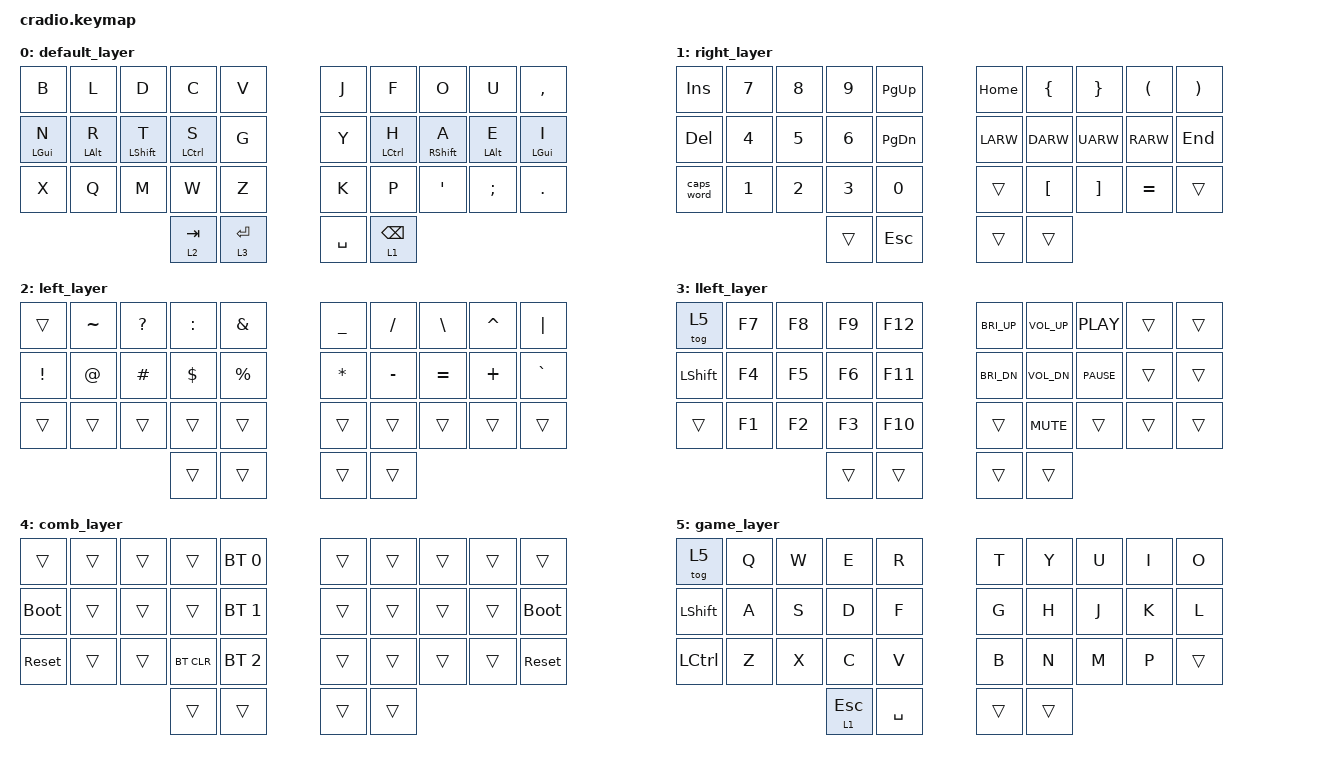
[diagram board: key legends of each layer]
// Copyright (c) 2022 The ZMK Contributors
// SPDX-License-Identifier: MIT

#include <behaviors.dtsi>
#include <dt-bindings/zmk/keys.h>
#include <dt-bindings/zmk/bt.h>
#include "zmk-helpers/key-labels/34.h"   
#include "zmk-helpers/helper.h"

#define KEYS_L LT0 LT1 LT2 LT3 LT4 LM0 LM1 LM2 LM3 LM4 LB0 LB1 LB2 LB3 LB4  // left-hand keys
#define KEYS_R RT0 RT1 RT2 RT3 RT4 RM0 RM1 RM2 RM3 RM4 RB0 RB1 RB2 RB3 RB4  // right-hand keys
#define THUMBS_L LH1 LH0 
#define THUMBS_R RH0 RH1  // thumb keys 
#define THUMBS LH0 LH1 RH0 RH1  // thumb keys

#define QUICK_TAP_MS 175 // 175
#define REQUIRE_PRIOR_IDLE_MS 100 // 150
#define COMBO_TIMEOUT_MS 35 // 50

#define MAKE_HRM(NAME, HOLD, TAP, TRIGGER_POS) \
    ZMK_HOLD_TAP(NAME, \
        flavor = "balanced"; \
        tapping-term-ms = <240>; \
        quick-tap-ms = <QUICK_TAP_MS>; \
        require-prior-idle-ms = <REQUIRE_PRIOR_IDLE_MS>; \
        bindings = <HOLD>, <TAP>; \
        hold-trigger-key-positions = <TRIGGER_POS>; \
        hold-while-undecided; \
    )

#define MAKE_HRM_NO_HOLD(NAME, HOLD, TAP, TRIGGER_POS) \
    ZMK_HOLD_TAP(NAME, \
        flavor = "balanced"; \
        tapping-term-ms = <240>; \
        quick-tap-ms = <QUICK_TAP_MS>; \
        require-prior-idle-ms = <REQUIRE_PRIOR_IDLE_MS>; \
        bindings = <HOLD>, <TAP>; \
        hold-trigger-key-positions = <TRIGGER_POS>; \
    )

MAKE_HRM(hml, &kp, &kp, KEYS_R THUMBS)  // left-hand HRMs
MAKE_HRM_NO_HOLD(hmln, &kp, &kp, KEYS_R THUMBS)  // left-hand HRMs
MAKE_HRM(hmr, &kp, &kp, KEYS_L THUMBS_L)  // right-hand HRMs
MAKE_HRM_NO_HOLD(hmrn, &kp, &kp, KEYS_L THUMBS_L)  // right-hand HRMs

&lt {
    quick-tap-ms = <QUICK_TAP_MS>;
};


/ { 
    combos {
        compatible = "zmk,combos";
        combo_lws {
            timeout-ms = <COMBO_TIMEOUT_MS>;
            key-positions = <LM4 LM2>;
            bindings = <&macro_lgui_lshift>;
        };
        combo_rws {
            timeout-ms = <COMBO_TIMEOUT_MS>;
            key-positions = <RM4 RM2>;
            bindings = <&macro_lgui_lshift>;
        };
    };

    macros {
        macro_lgui_lshift: macro_lgui_lshift {
            label = "Macro LGUI+LSHIFT";
            compatible = "zmk,behavior-macro";
            #binding-cells = <0>;
            bindings = <&macro_press &kp LGUI>, <&macro_press &kp LSHIFT>, <&macro_pause_for_release>, <&macro_release &kp LSHIFT>, <&macro_release &kp LGUI>;
        };
    };

    conditional_layers {
        compatible = "zmk,conditional-layers";
        comb_layer {
            if-layers = <1 2>;
            then-layer = <4>;
        };
    };

    keymap {
        compatible = "zmk,keymap";
        default_layer {
            bindings = <
        //╭──────────┬──────────┬──────────┬──────────┬──────────╮   ╭──────────┬──────────┬──────────┬──────────┬──────────╮
        //│  B       │  L       │  D       │  C       │  V       │   │  J       │  F       │  O       │  U       │  , <     │
            &kp B      &kp L      &kp D      &kp C      &kp V          &kp J      &kp F      &kp O      &kp U      &kp COMMA
        //├──────────┼──────────┼──────────┼──────────┼──────────┤   ├──────────┼──────────┼──────────┼──────────┼──────────┤
        //│  N       │  R       │  T       │  S       │  G       │   │  Y       │  H       │  A       │  E       │  I       │
      &hmln LGUI N  &hmln LALT R  &hml LSHIFT  T &hml LCTRL S  &kp G    &kp Y     &hmr LCTRL H &hmr RSHFT A &hmrn LALT E &hmrn LGUI I
        //├──────────┼──────────┼──────────┼──────────┼──────────┤   ├──────────┼──────────┼──────────┼──────────┼──────────┤
        //│  X       │  Q       │  M       │  W       │  Z       │   │  K       │  P       │ ' "      │  ; :     │ . >      │
            &kp X      &kp Q      &kp M      &kp W      &kp Z          &kp K      &kp P      &kp SQT    &kp SEMI   &kp DOT
        //╰──────────┴──────────┴──────────┼──────────┼──────────┤   ├──────────┼──────────┼──────────┴──────────┴──────────╯
                                            &lt 2 TAB   &lt 3 ENTER     &kp SPACE  &lt 1 BSPC
        //                                 ╰──────────┴──────────╯   ╰──────────┴──────────╯
            >;
        };

        // right_layer {
        //    bindings = <
        //╭──────────┬──────────┬──────────┬──────────┬──────────╮   ╭──────────┬──────────┬──────────┬──────────┬──────────╮
        //│ INSERT   │  7       │  8       │  9       │          │   │ HOME     │ PAGE DN  │ PAGE UP  │ END      │  /       │
        //    &kp INS    &kp N1     &kp N2     &kp N3     &trans         &kp HOME   &kp PG_DN  &kp PG_UP  &kp END    &kp FSLH
        //├──────────┼──────────┼──────────┼──────────┼──────────┤   ├──────────┼──────────┼──────────┼──────────┼──────────┤
        //│ DELETE   │  4       │  5       │  6       │          │   │ LEFT     │ DOWN     │ UP       │ RIGHT    │  ?       │
        //    &kp DEL    &kp N4     &kp N5     &kp N6     &trans         &kp LARW   &kp DARW   &kp UARW   &kp RARW   &kp QMARK
        //├──────────┼──────────┼──────────┼──────────┼──────────┤   ├──────────┼──────────┼──────────┼──────────┼──────────┤
        //│ 0        │  1       │  2       │  3       │  0       │   │          │          │          │          │          │
        //   &caps_word  &kp N7     &kp N8     &kp N9     &kp N0         &trans     &trans     &trans     &trans     &trans
        //╰──────────┴──────────┴──────────┼──────────┼──────────┤   ├──────────┼──────────┼──────────┴──────────┴──────────╯
        //                                     &trans     &kp ESC        &trans     &trans
        //                                 ╰──────────┴──────────╯   ╰──────────┴──────────╯
        //    >;
        //};

        right_layer {
            bindings = <
        //╭──────────┬──────────┬──────────┬──────────┬──────────╮   ╭──────────┬──────────┬──────────┬──────────┬──────────╮
        //│ INSERT   │  7       │  8       │  9       │ PAGE UP  │   │ HOME     │ {        │ }        │ (        │  )       │
            &kp INS    &kp N7     &kp N8     &kp N9     &kp PG_UP      &kp HOME   &kp LBRC  &kp RBRC   &kp LPAR    &kp RPAR
        //├──────────┼──────────┼──────────┼──────────┼──────────┤   ├──────────┼──────────┼──────────┼──────────┼──────────┤
        //│ DELETE   │  4       │  5       │  6       │ PAGE DN  │   | LEFT     │ DOWN     │ UP       │ RIGHT    │  END     │
            &kp DEL    &kp N4  &kp N5 &kp N6 &kp PG_DN      &kp LARW &kp DARW &kp UARW   &kp RARW   &kp END
        //├──────────┼──────────┼──────────┼──────────┼──────────┤   ├──────────┼──────────┼──────────┼──────────┼──────────┤
        //│ CAPS     │  1       │  2       │  3       │  0       │   │          │ [        │ ]        │ =        │          │
           &caps_word  &kp N1     &kp N2     &kp N3     &kp N0         &trans     &kp LBKT   &kp RBKT   &kp EQUAL     &trans
        //╰──────────┴──────────┴──────────┼──────────┼──────────┤   ├──────────┼──────────┼──────────┴──────────┴──────────╯
                                             &trans     &kp ESC        &trans     &trans
        //                                 ╰──────────┴──────────╯   ╰──────────┴──────────╯
            >;
        };

        left_layer {
            bindings = <
        //╭──────────┬──────────┬──────────┬──────────┬──────────╮   ╭──────────┬──────────┬──────────┬──────────┬──────────╮
        //│          │ ~        │ ?        │ :        │ &        │   │ _        │ /        │ \        │ ^        │ |        │
            &trans     &kp TILDE  &kp QMARK  &kp COLON   &kp AMPS      &kp UNDER     &kp FSLH   &kp BSLH   &kp CARET   &kp PIPE
        //├──────────┼──────────┼──────────┼──────────┼──────────┤   ├──────────┼──────────┼──────────┼──────────┼──────────┤
        //│  !       │  @       │  #       │  $       │  %       │   │  *       │  -       │  =       │  +       │  `       │
            &kp EXCL   &kp AT     &kp HASH &kp DLLR   &kp PRCNT      &kp ASTRK  &kp MINUS  &kp EQUAL  &kp PLUS   &kp GRAVE
        //├──────────┼──────────┼──────────┼──────────┼──────────┤   ├──────────┼──────────┼──────────┼──────────┼──────────┤
        //│          │          │          │          │          │   │          │          │          │          │          │
            &trans     &trans     &trans     &trans     &trans         &trans     &trans    &trans      &trans    &trans
        //╰──────────┴──────────┴──────────┼──────────┼──────────┤   ├──────────┼──────────┼──────────┴──────────┴──────────╯
                                             &trans     &trans         &trans     &trans
        //                                 ╰──────────┴──────────╯   ╰──────────┴──────────╯
            >;
        };

        lleft_layer {
            bindings = <
        //╭──────────┬──────────┬──────────┬──────────┬──────────╮   ╭──────────┬──────────┬──────────┬──────────┬──────────╮
        //│          │          │          │          |          │   │          │          │          │          │          │
           &tog 5     &kp F7     &kp F8     &kp F9    &kp F12         &kp C_BRI_UP &kp C_VOL_UP &kp C_PLAY     &trans    &trans
        //├──────────┼──────────┼──────────┼──────────┼──────────┤   ├──────────┼──────────┼──────────┼──────────┼──────────┤
        //│          │          │          │          │          │   │          │          │          │          |          |
          &kp LSHIFT   &kp F4     &kp F5     &kp F6    &kp F11        &kp C_BRI_DN &kp C_VOL_DN &kp C_PAUSE     &trans    &trans
        //├──────────┼──────────┼──────────┼──────────┼──────────┤   ├──────────┼──────────┼──────────┼──────────┼──────────┤
        //│          │          │          │          |          │   │          │          │          │          │          │
            &trans     &kp F1     &kp F2    &kp F3      &kp F10        &trans    &kp C_MUTE     &trans     &trans     &trans
        //╰──────────┴──────────┴──────────┼──────────┼──────────┤   ├──────────┼──────────┼──────────┴──────────┴──────────╯
                                             &trans     &trans         &trans     &trans
        //                                 ╰──────────┴──────────╯   ╰──────────┴──────────╯
            >;
        };

        comb_layer {
            bindings = <
        //╭──────────┬──────────┬──────────┬──────────┬──────────╮   ╭──────────┬──────────┬──────────┬──────────┬──────────╮
        //│ RESET    │          │          │          │PROFILE 0 │   │          │          │          │          │  RESET   │
           &trans  &trans     &trans     &trans    &bt BT_SEL 0          &trans     &trans     &trans     &trans    &trans
        //├──────────┼──────────┼──────────┼──────────┼──────────┤   ├──────────┼──────────┼──────────┼──────────┼──────────┤
        //│BOOTLOADER│          │          │          │PROFILE 1 │   │          │          │          │          │BOOTLOADER│
          &bootloader  &trans     &trans     &trans    &bt BT_SEL 1    &trans     &trans     &trans     &trans    &bootloader
        //├──────────┼──────────┼──────────┼──────────┼──────────┤   ├──────────┼──────────┼──────────┼──────────┼──────────┤
        //│          │          │          │ CLEAR BT │PROFILE 2 │   │          │          │          │          │          │
            &sys_reset     &trans     &trans    &bt BT_CLR &bt BT_SEL 2    &trans     &trans     &trans     &trans     &sys_reset
        //╰──────────┴──────────┴──────────┼──────────┼──────────┤   ├──────────┼──────────┼──────────┴──────────┴──────────╯
                                             &trans     &trans         &trans     &trans
        //                                 ╰──────────┴──────────╯   ╰──────────┴──────────╯
            >;
        };

        game_layer {
            bindings = <
        //╭──────────┬──────────┬──────────┬──────────┬──────────╮   ╭──────────┬──────────┬──────────┬──────────┬──────────╮
        //│          │          │          │          │          │   │          │          │          │          │          │
           &tog 5        &kp Q     &kp W     &kp E   &kp R             &kp T     &kp Y     &kp U     &kp I    &kp O
        //├──────────┼──────────┼──────────┼──────────┼──────────┤   ├──────────┼──────────┼──────────┼──────────┼──────────┤
        //│          │          │          │          │          │   │          │          │          │          │          │
          &kp LSHIFT     &kp A     &kp S     &kp D    &kp F           &kp G     &kp H     &kp J     &kp K    &kp L
        //├──────────┼──────────┼──────────┼──────────┼──────────┤   ├──────────┼──────────┼──────────┼──────────┼──────────┤
        //│          │          │          │          │          │   │          │          │          │          │          │
         &kp LCTRL     &kp  Z     &kp X    &kp C       &kp V          &kp B     &kp N     &kp M     &kp P     &trans
        //╰──────────┴──────────┴──────────┼──────────┼──────────┤   ├──────────┼──────────┼──────────┴──────────┴──────────╯
                                             &lt 1 ESC     &kp SPACE         &trans     &trans
        //                                 ╰──────────┴──────────╯   ╰──────────┴──────────╯
            >; 
        };
    };
};












